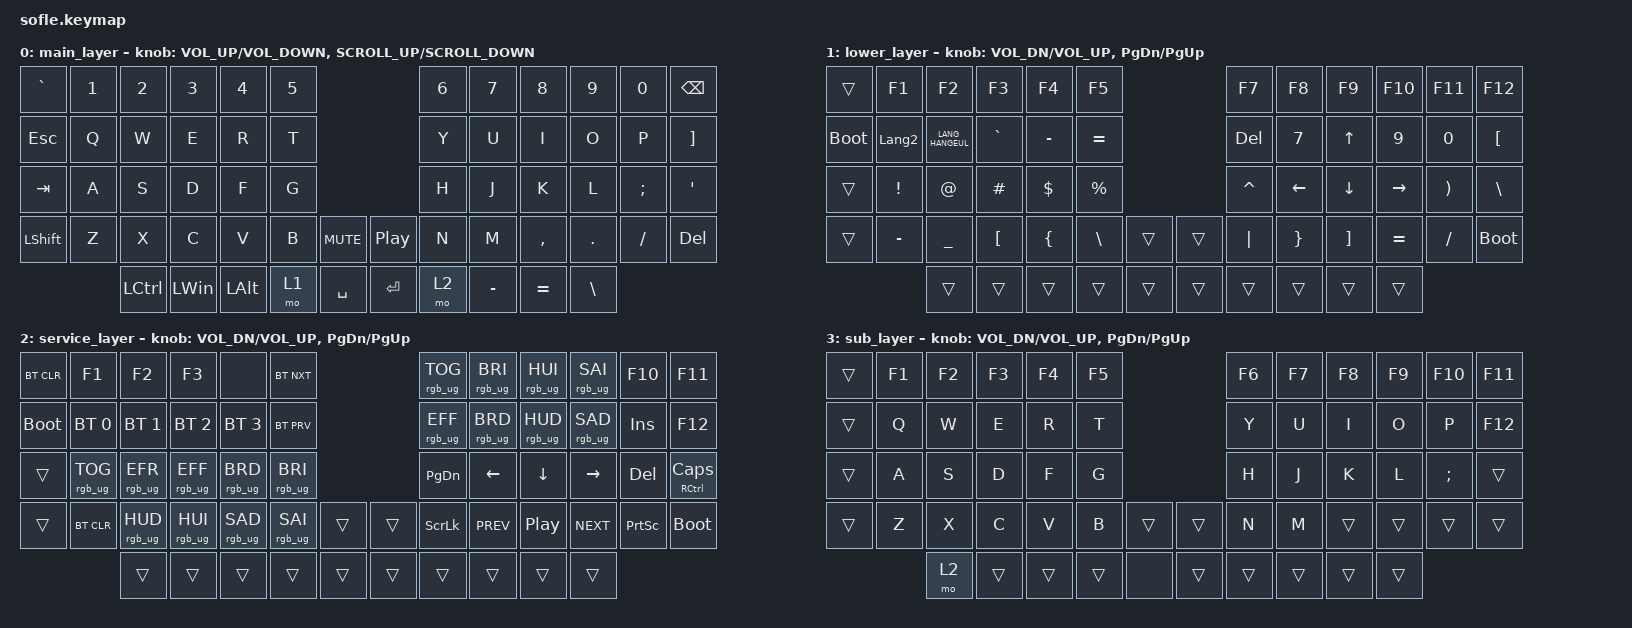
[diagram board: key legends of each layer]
/*
 * Copyright (c) 2020 The ZMK Contributors
 *
 * SPDX-License-Identifier: MIT
 */

#include <behaviors.dtsi>
#include <dt-bindings/zmk/bt.h>
#include <dt-bindings/zmk/keys.h>
#include <dt-bindings/zmk/rgb.h>

&left_encoder { steps = <20> /* Change this to your encoder's number of detents times 1 */; };

&right_encoder { steps = <20> /* Change this to your encoder's number of detents times 1 */; };

#define MAIN  0
#define QWERTY  1
#define LOWER   2
#define RAISE   3

/ {
    keymap {
        compatible = "zmk,keymap";

        main_layer {
            // ------------------------------------------------------------------------------------------------------------
            // |  `    |  1  |  2  |  3   |  4   |  5   |                   |  6   |  7    |  8    |  9   |   0   |   \   |
            // |  TAB  |  Q  |  W  |  F   |  P   |  B   |                   |  J   |  L    |  U    |  O   |   ;   | BKSPC |
            // | C/ESC |  A  |  R  |  S   |  T   |  G   |                   |  M   |  N    |  E    |  I   |   O   |  C/'  |
            // | SHIFT |  Z  |  X  |  C   |  D   |  V   |  MUTE  |  | PLAY  |  K   |  H    |  ,    |  .   |   /   | SHIFT |
            //               | CAPS| ALT  | GUI/-| SPACE|LOWER/[ |  |RAISE/]| ENTER|  GUI/=|  ALT  | CTRL |

            bindings = <
&kp GRAVE   &kp N1  &kp N2     &kp N3        &kp N4        &kp N5                          &kp N6  &kp N7     &kp N8     &kp N9         &kp N0         &kp BACKSPACE
&kp ESCAPE  &kp Q   &kp W      &kp E         &kp R         &kp T                           &kp Y   &kp U      &kp I      &kp O          &kp P          &kp RIGHT_BRACKET
&kp TAB     &kp A   &kp S      &kp D         &kp F         &kp G                           &kp H   &kp J      &kp K      &kp L          &kp SEMICOLON  &kp SQT
&kp LSHIFT  &kp Z   &kp X      &kp C         &kp V         &kp B   &kp C_MUTE    &kp C_PP  &kp N   &kp M      &kp COMMA  &kp PERIOD     &kp SLASH      &kp DELETE
                    &kp LCTRL  &kp LEFT_WIN  &kp LEFT_ALT  &mo 1   &kp SPACE     &kp RET   &mo 2   &kp MINUS  &kp EQUAL  &kp BACKSLASH
            >;

            sensor-bindings =
                <&inc_dec_kp C_VOLUME_UP C_VOLUME_DOWN>,
                <&inc_dec_kp K_SCROLL_UP K_SCROLL_DOWN>;
        };

        lower_layer {
            // ------------------------------------------------------------------------------------------------------------
            // |       |  F1 |  F2 |  F3  |  F4  |  F5  |                   |  F6  |  F7   |  F8   |  F9  |  F10  |  F11  |
            // |       |   1 |   2 |   3  |   4  |   5  |                   |   6  |   7   |   8   |   9  |    0  |  F12  |
            // |       |  !  |  @  |  #   |  $   |  %   |                   |  ^   |  &    |  *    |  (   |   )   |       |
            // |       |  -  |  _  |  [   |  {   |  \   |        |  |       |  |   |  }    |  ]    |  =   |   +   |       |
            //               |     |      |      |      |        |  |       |      |       |       |      |

            bindings = <
&trans       &kp F1          &kp F2            &kp F3     &kp F4     &kp F5                       &kp F7     &kp F8          &kp F9          &kp F10    &kp F11   &kp F12
&bootloader  &kp LANGUAGE_2  &kp LANG_HANGEUL  &kp GRAVE  &kp MINUS  &kp EQUAL                    &kp DEL    &kp N7          &kp UP_ARROW    &kp N9     &kp N0    &kp LEFT_BRACKET
&trans       &kp EXCL        &kp AT            &kp HASH   &kp DLLR   &kp PRCNT                    &kp CARET  &kp LEFT_ARROW  &kp DOWN_ARROW  &kp RIGHT  &kp RPAR  &kp BACKSLASH
&trans       &kp MINUS       &kp UNDER         &kp LBKT   &kp LBRC   &kp BSLH   &trans    &trans  &kp PIPE   &kp RBRC        &kp RBKT        &kp EQUAL  &kp FSLH  &bootloader
                             &trans            &trans     &trans     &trans     &trans    &trans  &trans     &trans          &trans          &trans
            >;

            sensor-bindings = <&inc_dec_kp C_VOL_DN C_VOL_UP &inc_dec_kp PG_DN PG_UP>;
        };

        service_layer {
            // ------------------------------------------------------------------------------------------------------------
            // |     |  F1  |  F2  |  F3   |  F4   |  F5  |                |  F6  |  F7  |  F8   |  F9  |  F10  |  F11  |
            // |     | BT1  | BT2  |  BT3  |  BT4  |  BT5 |                | PGUP |  END |   ^   | HOME |  INS  |  F12  |
            // |     | RGBT | RGB- | RGB+  |  BR-  |  BR+ |                | PGDN |   <- |   v   | ->   |  DEL  | C/CAPS|
            // |     |BTCLR | HUD  | HUI   |  SAD  |  SAI |      |  |      | SCRL | PRVS | PLAY  | NEXT |  PSCR |       |
            //              |      |       |       |      |      |  |      |      |      |       |      |

            bindings = <
&bt BT_CLR   &kp F1           &kp F2           &kp F3           &none            &bt BT_NXT                         &rgb_ug RGB_TOG  &rgb_ug RGB_BRI  &rgb_ug RGB_HUI  &rgb_ug RGB_SAI  &kp F10    &kp F11
&bootloader  &bt BT_SEL 0     &bt BT_SEL 1     &bt BT_SEL 2     &bt BT_SEL 3     &bt BT_PRV                         &rgb_ug RGB_EFF  &rgb_ug RGB_BRD  &rgb_ug RGB_HUD  &rgb_ug RGB_SAD  &kp INS    &kp F12
&trans       &rgb_ug RGB_TOG  &rgb_ug RGB_EFR  &rgb_ug RGB_EFF  &rgb_ug RGB_BRD  &rgb_ug RGB_BRI                    &kp PG_DN        &kp LEFT         &kp DOWN         &kp RIGHT        &kp DEL    &mt RCTRL CLCK
&trans       &bt BT_CLR       &rgb_ug RGB_HUD  &rgb_ug RGB_HUI  &rgb_ug RGB_SAD  &rgb_ug RGB_SAI  &trans    &trans  &kp SLCK         &kp C_PREV       &kp C_PP         &kp C_NEXT       &kp PSCRN  &bootloader
                              &trans           &trans           &trans           &trans           &trans    &trans  &trans           &trans           &trans           &trans
            >;

            sensor-bindings = <&inc_dec_kp C_VOL_DN C_VOL_UP &inc_dec_kp PG_DN PG_UP>;
        };

        sub_layer {
            // ------------------------------------------------------------------------------------------------------------
            // |  `    |  1  |  2  |  3   |  4   |  5   |                   |  6   |  7    |  8    |  9   |   0   |   \   |
            // |  TAB  |  Q  |  W  |  E   |  R   |  T   |                   |  Y   |  U    |  I    |  O   |   P   | BKSPC |
            // | C/ESC |  A  |  S  |  D   |  F   |  G   |                   |  H   |  J    |  K    |  L   |   ;   |  C/'  |
            // | SHIFT |  Z  |  X  |  C   |   V  |  B   |  MUTE  |  | PLAY  |  N   |  M    |  ,    |  .   |   /   | SHIFT |
            //               | CAPS| ALT  | GUI/-| SPACE|LOWER/[ |  |RAISE/]| ENTER|  GUI/=|  ALT  | CTRL |

            bindings = <
&trans  &kp F1  &kp F2  &kp F3  &kp F4  &kp F5                    &kp F6  &kp F7  &kp F8  &kp F9  &kp F10   &kp F11
&trans  &kp Q   &kp W   &kp E   &kp R   &kp T                     &kp Y   &kp U   &kp I   &kp O   &kp P     &kp F12
&trans  &kp A   &kp S   &kp D   &kp F   &kp G                     &kp H   &kp J   &kp K   &kp L   &kp SEMI  &trans
&trans  &kp Z   &kp X   &kp C   &kp V   &kp B   &trans    &trans  &kp N   &kp M   &trans  &trans  &trans    &trans
                &mo 2   &trans  &trans  &trans  &none     &trans  &trans  &trans  &trans  &trans
            >;

            sensor-bindings = <&inc_dec_kp C_VOL_DN C_VOL_UP &inc_dec_kp PG_DN PG_UP>;
        };
    };
};


&sensors {
    // Change this to your encoder's number of detents.
    // If you have multiple encoders with different detents, see
    // https://zmk.dev/docs/config/encoders#keymap-sensor-config
    triggers-per-rotation = <20>;
};
